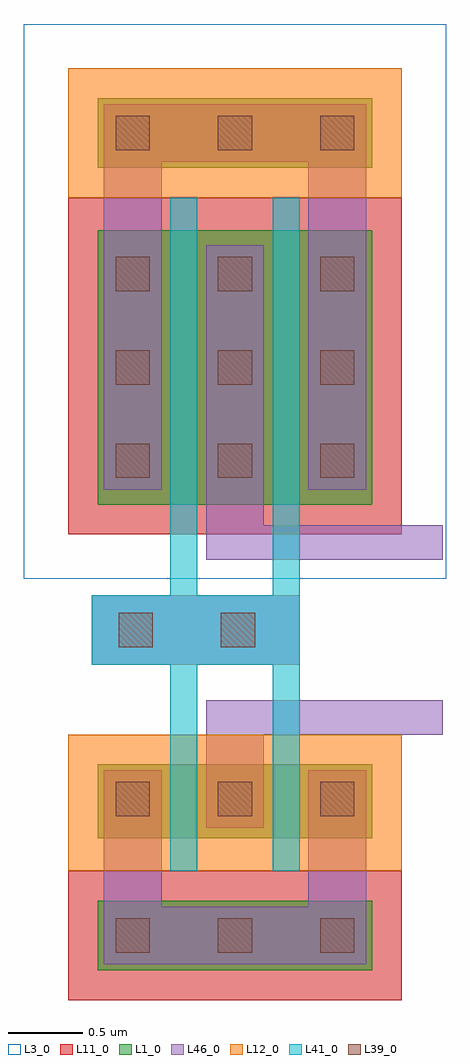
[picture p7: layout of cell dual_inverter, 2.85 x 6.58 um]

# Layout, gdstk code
import gdstk
lib = gdstk.Library(unit=1e-6, precision=1e-09)
def R(c, l, rs):  # rectangles x0, y0, x1, y1
    for r in rs: c.add(gdstk.rectangle(r[:2], r[2:], *l))
def A(c, l, x, y, w, h, nx, ny, dx, dy):  # array of equal rectangles
    R(c, l, [(x+i*dx, y+j*dy, x+i*dx+w, y+j*dy+h) for i in range(nx) for j in range(ny)])
L1_0 = (1, 0)
L3_0 = (3, 0)
L11_0 = (11, 0)
L12_0 = (12, 0)
L39_0 = (39, 0)
L41_0 = (41, 0)
L46_0 = (46, 0)

dual_inverter = lib.new_cell('dual_inverter')
R(dual_inverter, L1_0, [(5.06,-2.229,6.22,-1.759), (5.75,-2.229,6.91,-1.759), (5.06,-1.339,6.22,-0.839), (5.75,-1.339,6.91,-0.839), (5.06,0.912,6.22,2.762), (5.75,0.912,6.91,2.762), (5.06,3.182,6.22,3.652), (5.75,3.182,6.91,3.652)])
R(dual_inverter, L3_0, [(4.56,0.412,6.72,4.152), (5.25,0.412,7.41,4.152)])
R(dual_inverter, L11_0, [(4.86,-2.429,6.42,-1.559), (5.55,-2.429,7.11,-1.559), (4.86,0.712,6.42,2.982), (5.55,0.712,7.11,2.982)])
R(dual_inverter, L12_0, [(4.86,-1.559,6.42,-0.639), (5.55,-1.559,7.11,-0.639), (4.86,2.982,6.42,3.852), (5.55,2.982,7.11,3.852)])
A(dual_inverter, L39_0, 5.18, 1.091, 0.23, 0.23, 1, 3, 0, 0.63)
A(dual_inverter, L39_0, 6.56, 1.091, 0.23, 0.23, 1, 3, 0, 0.63)
R(dual_inverter, L39_0, [(5.18,-2.109,5.41,-1.879), (5.87,-2.109,6.1,-1.879), (5.87,-2.109,6.1,-1.879), (6.56,-2.109,6.79,-1.879), (5.18,-1.189,5.41,-0.959), (5.87,-1.189,6.1,-0.959), (5.87,-1.189,6.1,-0.959), (6.56,-1.189,6.79,-0.959), (5.2,-0.049,5.43,0.181), (5.89,-0.049,6.12,0.181), (5.87,1.091,6.1,1.321), (5.87,1.091,6.1,1.321), (5.87,1.721,6.1,1.951), (5.87,1.721,6.1,1.951), (5.87,2.351,6.1,2.581), (5.87,2.351,6.1,2.581), (5.18,3.302,5.41,3.532), (5.87,3.302,6.1,3.532), (5.87,3.302,6.1,3.532), (6.56,3.302,6.79,3.532)])
R(dual_inverter, L41_0, [(5.55,-1.559,5.73,2.982), (6.24,-1.559,6.42,2.982), (5.02,-0.169,5.55,0.301), (5.73,-0.169,6.24,0.301)])
R(dual_inverter, L46_0, [(5.1,-2.189,5.49,-0.879), (5.1,-2.189,6.18,-1.799), (5.79,-2.189,6.87,-1.799), (6.48,-2.189,6.87,-0.879), (5.79,-1.269,6.18,-0.409), (5.79,-0.639,6.695,-0.409), (6.48,-0.639,7.385,-0.409), (5.02,-0.169,6.42,0.301), (5.79,0.541,6.695,0.771), (5.79,0.541,6.18,2.661), (6.48,0.541,7.385,0.771), (5.1,1.011,5.49,3.612), (6.48,1.011,6.87,3.61), (5.1,3.222,6.87,3.612)])

lib.write_gds('dual_inverter.gds')
